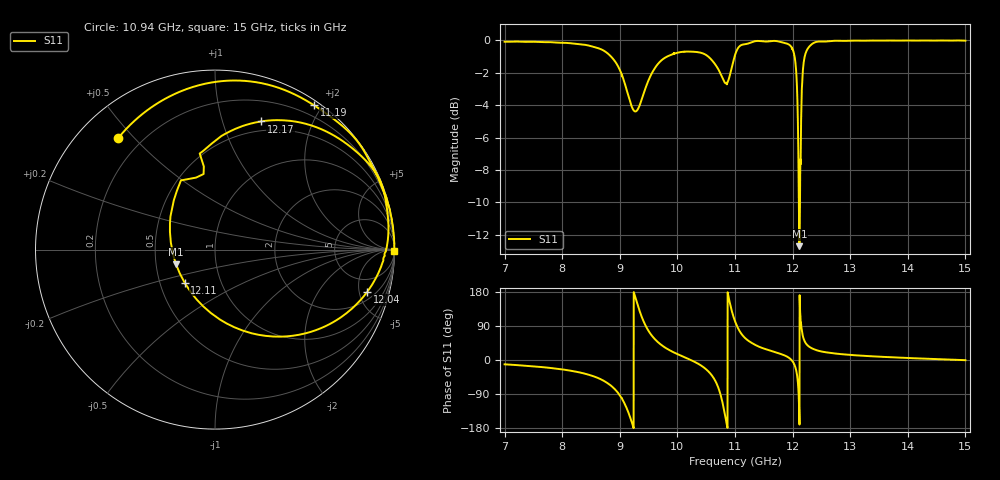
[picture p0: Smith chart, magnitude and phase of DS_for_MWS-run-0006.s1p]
! TOUCHSTONE file generated by CST DESIGN STUDIO
! Date and time: Mon Feb 10 16:41:34 2025
! Project name: C:\Work\MatlabApps\UnitCellType2OptimizationMatlab\CST\unitcell.cst
! Tree item: Tasks\Sweep1\SPara1\S-Parameters
! Header version: 2024
! Port assignment regex: !\s*Touchstone port\s*([0-9]+)\s*=\s*(CST MWS port|CST DES external port|CST DES block port)\s*(.+)\s* \(\"(.*)\"\)(\s*mode\s*([0-9]+))?.*
! Touchstone port assignment:
! Touchstone port 1 = CST DES external port 1 ("")
# GHz S MA R 50
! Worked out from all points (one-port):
!   4001 points, 7 GHz to 15 GHz, reference 50 ohm
!   lowest |S11| = -12.7 dB at 12.12 GHz (marker M1), VSWR 1.60, Z = 31.8 - j5.52 ohm
!   |S11| at or under -10 dB: 12.10852 GHz to 12.12829 GHz (19.77 MHz wide, 0.163 % of centre)
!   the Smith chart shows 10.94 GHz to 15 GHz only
!   S11 on the Smith chart (normalised r, x): 10.94 GHz: 0.12, +0.45; 11.19 GHz: 0.06, +1.90; 12.04 GHz: 2.86, -5.99; 12.11 GHz: 0.67, -0.26; 12.17 GHz: 0.40, +1.34; 15 GHz: open
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7  0.9911 -11.4
8  0.9837 -24.8
8.642  0.9443 -48.8
9  0.8118 -93.2
9.232  0.6118 -175.9
9.44  0.7077 93.0
9.678  0.8528 45.0
10  0.9164 15.7
10.5  0.9015 -24.8
10.636  0.8532 -49.2
10.736  0.7987 -84.7
10.792  0.7586 -118.4
10.85  0.7368 -164.3
10.942  0.8232 130.8
11  0.9014 102.5
11.192  0.975 55.6
11.474  0.9938 31.6
12  0.94 -3.7
12.04  0.88 -15.5
12.08  0.688 -42.6
12.114  0.2503 -132.6
12.118  0.2318 -159.2
12.168  0.7586 70.3
12.23  0.9176 43.9
12.34  0.976 30.5
13  0.9986 13.5
14  0.9995 5.3
15  0.9986 -0.5
